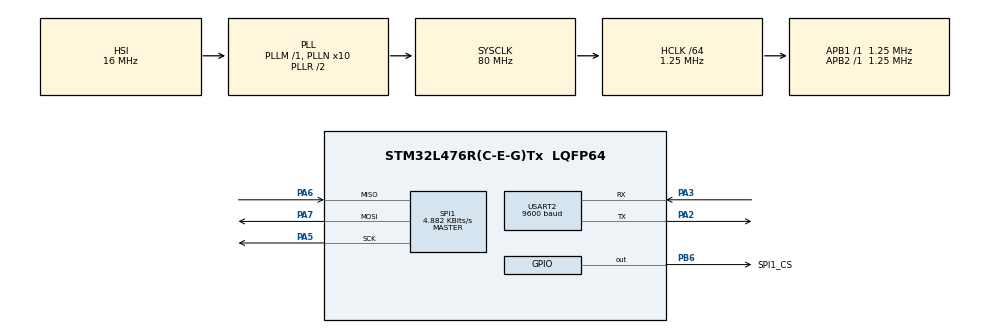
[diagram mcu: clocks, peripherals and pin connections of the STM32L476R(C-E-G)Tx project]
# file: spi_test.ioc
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Mcu.Family=STM32L4
Mcu.Name=STM32L476R(C-E-G)Tx
Mcu.Package=LQFP64
NVIC.PriorityGroup=NVIC_PRIORITYGROUP_4
PA13\ (JTMS-SWDIO).GPIO_Label=TMS
PA13\ (JTMS-SWDIO).Mode=Serial_Wire
PA13\ (JTMS-SWDIO).Signal=SYS_JTMS-SWDIO
PA14\ (JTCK-SWCLK).GPIO_Label=TCK
PA14\ (JTCK-SWCLK).Mode=Serial_Wire
PA14\ (JTCK-SWCLK).Signal=SYS_JTCK-SWCLK
PA2.Mode=Asynchronous
PA2.Signal=USART2_TX
PA3.Mode=Asynchronous
PA3.Signal=USART2_RX
PA5.Mode=Full_Duplex_Master
PA5.Signal=SPI1_SCK
PA6.Mode=Full_Duplex_Master
PA6.Signal=SPI1_MISO
PA7.Mode=Full_Duplex_Master
PA7.Signal=SPI1_MOSI
PB6.GPIO_Label=SPI1_CS
PB6.Signal=GPIO_Output
PH0-OSC_IN\ (PH0).Signal=RCC_OSC_IN
PH1-OSC_OUT\ (PH1).Signal=RCC_OSC_OUT
ProjectManager.HeapSize=0x200
ProjectManager.StackSize=0x400
ProjectManager.TargetToolchain=STM32CubeIDE
RCC.ADCFreq_Value=64000000
RCC.AHBCLKDivider=RCC_SYSCLK_DIV64
RCC.AHBFreq_Value=1250000
RCC.APB1Freq_Value=1250000
RCC.APB1TimFreq_Value=1250000
RCC.APB2Freq_Value=1250000
RCC.APB2TimFreq_Value=1250000
RCC.CortexFreq_Value=1250000
RCC.HCLKFreq_Value=1250000
RCC.HSE_VALUE=8000000
RCC.HSI_VALUE=16000000
RCC.MSI_VALUE=4000000
RCC.PLLN=10
RCC.PLLSourceVirtual=RCC_PLLSOURCE_HSI
RCC.PREFETCH_ENABLE=1
RCC.SYSCLKFreq_VALUE=80000000
RCC.SYSCLKSource=RCC_SYSCLKSOURCE_PLLCLK
RCC.USBFreq_Value=64000000
RCC.VCOOutputFreq_Value=160000000
SPI1.BaudRatePrescaler=SPI_BAUDRATEPRESCALER_256
SPI1.CLKPhase=SPI_PHASE_2EDGE
SPI1.CalculateBaudRate=4.882 KBits/s
SPI1.DataSize=SPI_DATASIZE_8BIT
SPI1.Direction=SPI_DIRECTION_2LINES
SPI1.Mode=SPI_MODE_MASTER
SPI1.VirtualType=VM_MASTER
USART2.BaudRate=9600
USART2.VirtualMode-Asynchronous=VM_ASYNC
board=NUCLEO-L476RG

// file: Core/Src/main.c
/* USER CODE BEGIN Header */
/**
  ******************************************************************************
  * @file           : main.c
  * @brief          : Main program body
  ******************************************************************************
  * @attention
  *
  * Copyright (c) 2022 STMicroelectronics.
  * All rights reserved.
  *
  * This software is licensed under terms that can be found in the LICENSE file
  * in the root directory of this software component.
  * If no LICENSE file comes with this software, it is provided AS-IS.
  *
  ******************************************************************************
  */
/* USER CODE END Header */
#include "main.h"

SPI_HandleTypeDef hspi1;

UART_HandleTypeDef huart2;

void SystemClock_Config(void);
static void MX_GPIO_Init(void);
static void MX_USART2_UART_Init(void);
static void MX_SPI1_Init(void);
/* USER CODE BEGIN PFP */

#define B0_WHO_AM_I		0xBE /*DEFAULT: 0x00*/	// ID register
#define ICM20948_ID 	0xEA					// register value

/* USER CODE END PFP */

/* USER CODE BEGIN 0 */

/// sets CS pin to low to begin transmission
/// returns nothing
void cs_low(){
	HAL_GPIO_WritePin(SPI1_CS_GPIO_Port, SPI1_CS_Pin, RESET);
}

/// sets CS pin to high to end transmission
/// returns nothing
void cs_high(){
	HAL_GPIO_WritePin(SPI1_CS_GPIO_Port, SPI1_CS_Pin, SET);
}

/// simplified register read function found in icm20948's library, excludes bank selection...
uint8_t read_single_icm20948_reg(uint8_t reg){
	uint8_t read_reg = reg;
	uint8_t reg_val;

	cs_low();
	HAL_SPI_Transmit(&hspi1, &read_reg, 1, 1000);
	HAL_SPI_Receive(&hspi1, &reg_val, 1, 1000);
	cs_high();

	return reg_val;
}

/// function reads the WHO_AM_I register of icm20948 to check if the read value is correct
/// returns 1 if value is correct
/// returns 0 otherwise
uint8_t test_icm20948_device(){
	uint8_t icm_id = read_single_icm20948_reg( B0_WHO_AM_I );
	if ( icm_id == ICM20948_ID ){
		return 1;
	}else{
		return 0;
	}
}

uint8_t test_result = 0;

/* USER CODE END 0 */

int main(void)
{

  /* MCU Configuration--------------------------------------------------------*/

  /* Reset of all peripherals, Initializes the Flash interface and the Systick. */
  HAL_Init();

  /* Configure the system clock */
  SystemClock_Config();

  /* Initialize all configured peripherals */
  MX_GPIO_Init();
  MX_USART2_UART_Init();
  MX_SPI1_Init();

  /* Infinite loop */
  /* USER CODE BEGIN WHILE */
  while (1)
  {

	  test_result = test_icm20948_device();
	  HAL_Delay(1000);

    /* USER CODE END WHILE */

  }
}

void SystemClock_Config(void)
{
  RCC_OscInitTypeDef RCC_OscInitStruct = {0};
  RCC_ClkInitTypeDef RCC_ClkInitStruct = {0};

  /** Configure the main internal regulator output voltage
  */
  if (HAL_PWREx_ControlVoltageScaling(PWR_REGULATOR_VOLTAGE_SCALE1) != HAL_OK)
  {
    Error_Handler();
  }

  /** Initializes the RCC Oscillators according to the specified parameters
  * in the RCC_OscInitTypeDef structure.
  */
  RCC_OscInitStruct.OscillatorType = RCC_OSCILLATORTYPE_HSI;
  RCC_OscInitStruct.HSIState = RCC_HSI_ON;
  RCC_OscInitStruct.HSICalibrationValue = RCC_HSICALIBRATION_DEFAULT;
  RCC_OscInitStruct.PLL.PLLState = RCC_PLL_ON;
  RCC_OscInitStruct.PLL.PLLSource = RCC_PLLSOURCE_HSI;
  RCC_OscInitStruct.PLL.PLLM = 1;
  RCC_OscInitStruct.PLL.PLLN = 10;
  RCC_OscInitStruct.PLL.PLLP = RCC_PLLP_DIV7;
  RCC_OscInitStruct.PLL.PLLQ = RCC_PLLQ_DIV2;
  RCC_OscInitStruct.PLL.PLLR = RCC_PLLR_DIV2;
  if (HAL_RCC_OscConfig(&RCC_OscInitStruct) != HAL_OK)
  {
    Error_Handler();
  }

  /** Initializes the CPU, AHB and APB buses clocks
  */
  RCC_ClkInitStruct.ClockType = RCC_CLOCKTYPE_HCLK|RCC_CLOCKTYPE_SYSCLK
                              |RCC_CLOCKTYPE_PCLK1|RCC_CLOCKTYPE_PCLK2;
  RCC_ClkInitStruct.SYSCLKSource = RCC_SYSCLKSOURCE_PLLCLK;
  RCC_ClkInitStruct.AHBCLKDivider = RCC_SYSCLK_DIV64;
  RCC_ClkInitStruct.APB1CLKDivider = RCC_HCLK_DIV1;
  RCC_ClkInitStruct.APB2CLKDivider = RCC_HCLK_DIV1;

  if (HAL_RCC_ClockConfig(&RCC_ClkInitStruct, FLASH_LATENCY_0) != HAL_OK)
  {
    Error_Handler();
  }
}

static void MX_SPI1_Init(void)
{

  /* SPI1 parameter configuration*/
  hspi1.Instance = SPI1;
  hspi1.Init.Mode = SPI_MODE_MASTER;
  hspi1.Init.Direction = SPI_DIRECTION_2LINES;
  hspi1.Init.DataSize = SPI_DATASIZE_8BIT;
  hspi1.Init.CLKPolarity = SPI_POLARITY_LOW;
  hspi1.Init.CLKPhase = SPI_PHASE_2EDGE;
  hspi1.Init.NSS = SPI_NSS_SOFT;
  hspi1.Init.BaudRatePrescaler = SPI_BAUDRATEPRESCALER_256;
  hspi1.Init.FirstBit = SPI_FIRSTBIT_MSB;
  hspi1.Init.TIMode = SPI_TIMODE_DISABLE;
  hspi1.Init.CRCCalculation = SPI_CRCCALCULATION_DISABLE;
  hspi1.Init.CRCPolynomial = 7;
  hspi1.Init.CRCLength = SPI_CRC_LENGTH_DATASIZE;
  hspi1.Init.NSSPMode = SPI_NSS_PULSE_DISABLE;
  if (HAL_SPI_Init(&hspi1) != HAL_OK)
  {
    Error_Handler();
  }

}

static void MX_USART2_UART_Init(void)
{

  huart2.Instance = USART2;
  huart2.Init.BaudRate = 9600;
  huart2.Init.WordLength = UART_WORDLENGTH_8B;
  huart2.Init.StopBits = UART_STOPBITS_1;
  huart2.Init.Parity = UART_PARITY_NONE;
  huart2.Init.Mode = UART_MODE_TX_RX;
  huart2.Init.HwFlowCtl = UART_HWCONTROL_NONE;
  huart2.Init.OverSampling = UART_OVERSAMPLING_16;
  huart2.Init.OneBitSampling = UART_ONE_BIT_SAMPLE_DISABLE;
  huart2.AdvancedInit.AdvFeatureInit = UART_ADVFEATURE_NO_INIT;
  if (HAL_UART_Init(&huart2) != HAL_OK)
  {
    Error_Handler();
  }

}

static void MX_GPIO_Init(void)
{
  GPIO_InitTypeDef GPIO_InitStruct = {0};

  /* GPIO Ports Clock Enable */
  __HAL_RCC_GPIOH_CLK_ENABLE();
  __HAL_RCC_GPIOA_CLK_ENABLE();
  __HAL_RCC_GPIOB_CLK_ENABLE();

  /*Configure GPIO pin Output Level */
  HAL_GPIO_WritePin(SPI1_CS_GPIO_Port, SPI1_CS_Pin, GPIO_PIN_RESET);

  /*Configure GPIO pin : SPI1_CS_Pin */
  GPIO_InitStruct.Pin = SPI1_CS_Pin;
  GPIO_InitStruct.Mode = GPIO_MODE_OUTPUT_PP;
  GPIO_InitStruct.Pull = GPIO_NOPULL;
  GPIO_InitStruct.Speed = GPIO_SPEED_FREQ_LOW;
  HAL_GPIO_Init(SPI1_CS_GPIO_Port, &GPIO_InitStruct);

}

void Error_Handler(void)
{
  __disable_irq();
  while (1)
  {
  }
}
